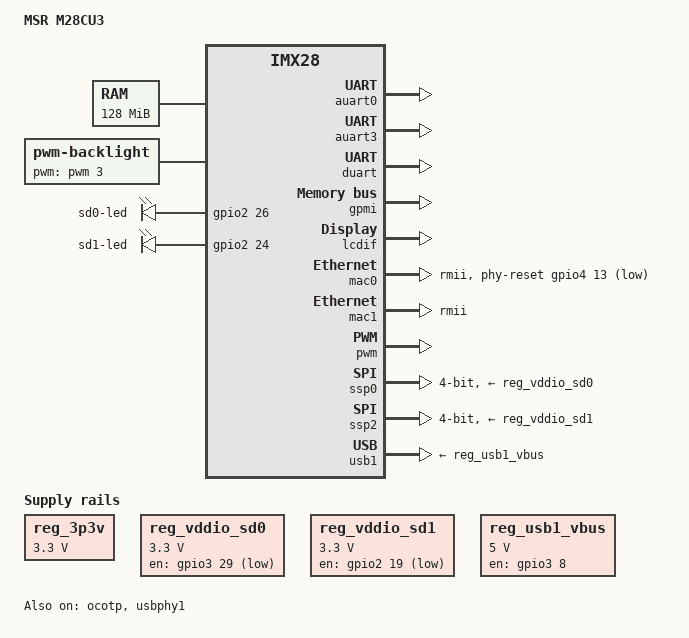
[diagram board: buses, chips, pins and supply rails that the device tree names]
// SPDX-License-Identifier: GPL-2.0-or-later
/*
 * Copyright (C) 2013 Marek Vasut <marex@denx.de>
 */

/dts-v1/;
#include "imx28.dtsi"

/ {
	model = "MSR M28CU3";
	compatible = "msr,m28cu3", "fsl,imx28";

	memory@40000000 {
		device_type = "memory";
		reg = <0x40000000 0x08000000>;
	};

	backlight {
		compatible = "pwm-backlight";
		pwms = <&pwm 3 5000000>;
		brightness-levels = <0 4 8 16 32 64 128 255>;
		default-brightness-level = <6>;
	};

	leds {
		compatible = "gpio-leds";
		pinctrl-names = "default";
		pinctrl-0 = <&led_pins_gpio>;

		user1 {
			label = "sd0-led";
			gpios = <&gpio2 26 0>;
			linux,default-trigger = "mmc0";
		};

		user2 {
			label = "sd1-led";
			gpios = <&gpio2 24 0>;
			linux,default-trigger = "mmc2";
		};
	};

	reg_3p3v: regulator-0 {
		compatible = "regulator-fixed";
		regulator-name = "3P3V";
		regulator-min-microvolt = <3300000>;
		regulator-max-microvolt = <3300000>;
		regulator-always-on;
	};

	reg_vddio_sd0: regulator-1 {
		compatible = "regulator-fixed";
		regulator-name = "vddio-sd0";
		regulator-min-microvolt = <3300000>;
		regulator-max-microvolt = <3300000>;
		gpio = <&gpio3 29 0>;
	};

	reg_vddio_sd1: regulator-2 {
		compatible = "regulator-fixed";
		regulator-name = "vddio-sd1";
		regulator-min-microvolt = <3300000>;
		regulator-max-microvolt = <3300000>;
		gpio = <&gpio2 19 0>;
	};

	reg_usb1_vbus: regulator-3 {
		compatible = "regulator-fixed";
		regulator-name = "usb1_vbus";
		regulator-min-microvolt = <5000000>;
		regulator-max-microvolt = <5000000>;
		gpio = <&gpio3 8 0>;
		enable-active-high;
	};
};

&auart0 {
	pinctrl-names = "default";
	pinctrl-0 = <&auart0_2pins_a>;
	status = "okay";
};

&auart3 {
	pinctrl-names = "default";
	pinctrl-0 = <&auart3_2pins_b>;
	status = "okay";
};

&duart {
	pinctrl-names = "default";
	pinctrl-0 = <&duart_pins_b>;
	status = "okay";
};

&gpmi {
	#address-cells = <1>;
	#size-cells = <1>;
	pinctrl-names = "default";
	pinctrl-0 = <&gpmi_pins_a &gpmi_status_cfg>;
	status = "okay";

	partition@0 {
		label = "gpmi-nfc-0-boot";
		reg = <0x00000000 0x01400000>;
		read-only;
	};

	partition@1 {
		label = "gpmi-nfc-general-use";
		reg = <0x01400000 0x0ec00000>;
	};
};

&lcdif {
	pinctrl-names = "default";
	pinctrl-0 = <&lcdif_24bit_pins_a
		     &lcdif_pins_m28>;
	display = <&display0>;
	status = "okay";

	display0: display0 {
		bits-per-pixel = <32>;
		bus-width = <24>;

		display-timings {
			native-mode = <&timing0>;
			timing0: timing0 {
				clock-frequency = <6410256>;
				hactive = <320>;
				vactive = <240>;
				hback-porch = <38>;
				hfront-porch = <20>;
				vback-porch = <15>;
				vfront-porch = <5>;
				hsync-len = <30>;
				vsync-len = <3>;
				hsync-active = <0>;
				vsync-active = <0>;
				de-active = <1>;
				pixelclk-active = <1>;
			};
		};
	};
};

&mac0 {
	phy-mode = "rmii";
	pinctrl-names = "default";
	pinctrl-0 = <&mac0_pins_a>;
	phy-reset-gpios = <&gpio4 13 GPIO_ACTIVE_LOW>;
	phy-reset-duration = <100>;
	status = "okay";
};

&mac1 {
	phy-mode = "rmii";
	pinctrl-names = "default";
	pinctrl-0 = <&mac1_pins_a>;
	status = "okay";
};

&ocotp {
	status = "okay";
};

&pinctrl {
	pinctrl-names = "default";
	pinctrl-0 = <&hog_pins_a>;

	hog_pins_a: hog@0 {
		reg = <0>;
		fsl,pinmux-ids = <
			MX28_PAD_SSP2_SS0__GPIO_2_19
			MX28_PAD_PWM4__GPIO_3_29
			MX28_PAD_AUART2_RX__GPIO_3_8
			MX28_PAD_ENET0_RX_CLK__GPIO_4_13
		>;
		fsl,drive-strength = <MXS_DRIVE_4mA>;
		fsl,voltage = <MXS_VOLTAGE_HIGH>;
		fsl,pull-up = <MXS_PULL_DISABLE>;
	};

	lcdif_pins_m28: lcdif-m28@0 {
		reg = <0>;
		fsl,pinmux-ids = <
			MX28_PAD_LCD_VSYNC__LCD_VSYNC
			MX28_PAD_LCD_HSYNC__LCD_HSYNC
			MX28_PAD_LCD_DOTCLK__LCD_DOTCLK
			MX28_PAD_LCD_RESET__LCD_RESET
			MX28_PAD_LCD_CS__LCD_ENABLE
			MX28_PAD_AUART1_TX__GPIO_3_5
		>;
		fsl,drive-strength = <MXS_DRIVE_4mA>;
		fsl,voltage = <MXS_VOLTAGE_HIGH>;
		fsl,pull-up = <MXS_PULL_DISABLE>;
	};

	led_pins_gpio: leds-m28@0 {
		reg = <0>;
		fsl,pinmux-ids = <
			MX28_PAD_SSP3_MISO__GPIO_2_26
			MX28_PAD_SSP3_SCK__GPIO_2_24
		>;
		fsl,drive-strength = <MXS_DRIVE_4mA>;
		fsl,voltage = <MXS_VOLTAGE_HIGH>;
		fsl,pull-up = <MXS_PULL_DISABLE>;
	};
};

&pwm {
	pinctrl-names = "default";
	pinctrl-0 = <&pwm3_pins_a>;
	status = "okay";
};

&ssp0 {
	compatible = "fsl,imx28-mmc";
	pinctrl-names = "default";
	pinctrl-0 = <&mmc0_4bit_pins_a
		     &mmc0_cd_cfg
		     &mmc0_sck_cfg>;
	bus-width = <4>;
	vmmc-supply = <&reg_vddio_sd0>;
	status = "okay";
};

&ssp2 {
	compatible = "fsl,imx28-mmc";
	pinctrl-names = "default";
	pinctrl-0 = <&mmc2_4bit_pins_a
		     &mmc2_cd_cfg
		     &mmc2_sck_cfg_a>;
	bus-width = <4>;
	vmmc-supply = <&reg_vddio_sd1>;
	status = "okay";
};

&usb1 {
	vbus-supply = <&reg_usb1_vbus>;
	pinctrl-names = "default";
	pinctrl-0 = <&usb1_pins_a>;
	disable-over-current;
	status = "okay";
};

&usbphy1 {
	status = "okay";
};
